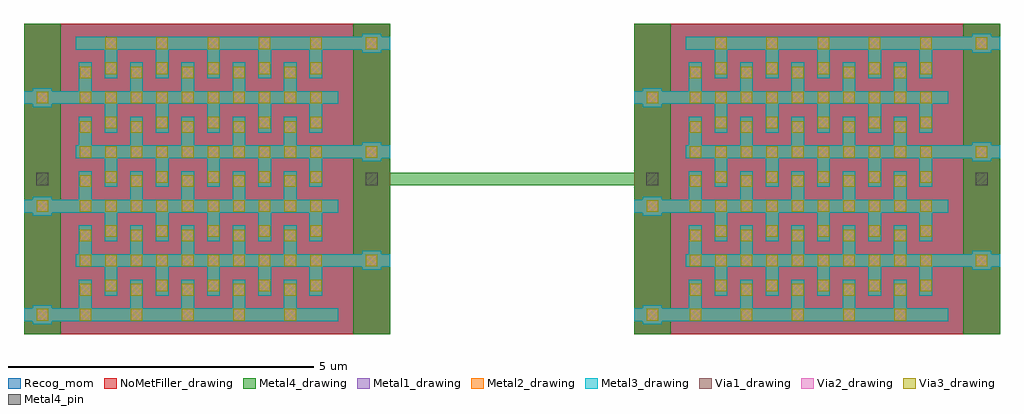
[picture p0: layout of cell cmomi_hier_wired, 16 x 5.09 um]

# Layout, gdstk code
import gdstk
lib = gdstk.Library(unit=1e-6, precision=1e-09)
def R(c, l, rs):  # rectangles x0, y0, x1, y1
    for r in rs: c.add(gdstk.rectangle(r[:2], r[2:], *l))
def A(c, l, x, y, w, h, nx, ny, dx, dy):  # array of equal rectangles
    R(c, l, [(x+i*dx, y+j*dy, x+i*dx+w, y+j*dy+h) for i in range(nx) for j in range(ny)])
Metal1_drawing = (8, 0)
Metal2_drawing = (10, 0)
Via1_drawing = (19, 0)
Via2_drawing = (29, 0)
Metal3_drawing = (30, 0)
Via3_drawing = (49, 0)
Metal4_drawing = (50, 0)
Metal4_pin = (50, 2)
Recog_mom = (99, 39)
NoMetFiller_drawing = (160, 0)

cmomi_unit = lib.new_cell('cmomi_unit')
A(cmomi_unit, Metal1_drawing, -2.855, -2.38, 0.31, 0.31, 1, 3, 0, 1.78)
A(cmomi_unit, Metal1_drawing, -3, -2.33, 5.15, 0.21, 1, 3, 0, 1.78)
A(cmomi_unit, Metal1_drawing, -2.1, -2.225, 0.21, 0.575, 5, 5, 0.84, 0.89)
A(cmomi_unit, Metal1_drawing, -1.68, -1.91, 0.21, 0.575, 5, 5, 0.84, 0.89)
A(cmomi_unit, Metal1_drawing, 2.545, -1.49, 0.31, 0.31, 1, 3, 0, 1.78)
A(cmomi_unit, Metal1_drawing, -2.15, -1.44, 5.15, 0.21, 1, 3, 0, 1.78)
A(cmomi_unit, Metal2_drawing, -2.855, -2.38, 0.31, 0.31, 1, 3, 0, 1.78)
A(cmomi_unit, Metal2_drawing, -3, -2.33, 5.15, 0.21, 1, 3, 0, 1.78)
A(cmomi_unit, Metal2_drawing, -2.1, -2.225, 0.21, 0.575, 5, 5, 0.84, 0.89)
A(cmomi_unit, Metal2_drawing, -1.68, -1.91, 0.21, 0.575, 5, 5, 0.84, 0.89)
A(cmomi_unit, Metal2_drawing, 2.545, -1.49, 0.31, 0.31, 1, 3, 0, 1.78)
A(cmomi_unit, Metal2_drawing, -2.15, -1.44, 5.15, 0.21, 1, 3, 0, 1.78)
A(cmomi_unit, Via1_drawing, -2.795, -2.32, 0.19, 0.19, 1, 3, 0, 1.78)
A(cmomi_unit, Via1_drawing, -2.09, -2.32, 0.19, 0.19, 5, 2, 0.84, 0.41)
A(cmomi_unit, Via1_drawing, -1.67, -1.84, 0.19, 0.19, 5, 5, 0.84, 0.89)
A(cmomi_unit, Via1_drawing, -2.09, -1.43, 0.19, 0.19, 10, 4, 0.42, 0.89)
A(cmomi_unit, Via1_drawing, 2.605, -1.43, 0.19, 0.19, 1, 3, 0, 1.78)
A(cmomi_unit, Via1_drawing, -2.09, -1.02, 0.19, 0.19, 5, 4, 0.84, 0.89)
A(cmomi_unit, Via1_drawing, -1.67, 2.13, 0.19, 0.19, 5, 1, 0.84, 0)
A(cmomi_unit, Via2_drawing, -2.795, -2.32, 0.19, 0.19, 1, 3, 0, 1.78)
A(cmomi_unit, Via2_drawing, -2.09, -2.32, 0.19, 0.19, 5, 2, 0.84, 0.41)
A(cmomi_unit, Via2_drawing, -1.67, -1.84, 0.19, 0.19, 5, 5, 0.84, 0.89)
A(cmomi_unit, Via2_drawing, -2.09, -1.43, 0.19, 0.19, 10, 4, 0.42, 0.89)
A(cmomi_unit, Via2_drawing, 2.605, -1.43, 0.19, 0.19, 1, 3, 0, 1.78)
A(cmomi_unit, Via2_drawing, -2.09, -1.02, 0.19, 0.19, 5, 4, 0.84, 0.89)
A(cmomi_unit, Via2_drawing, -1.67, 2.13, 0.19, 0.19, 5, 1, 0.84, 0)
A(cmomi_unit, Metal3_drawing, -2.855, -2.38, 0.31, 0.31, 1, 3, 0, 1.78)
A(cmomi_unit, Metal3_drawing, -3, -2.33, 5.15, 0.21, 1, 3, 0, 1.78)
A(cmomi_unit, Metal3_drawing, -2.1, -2.225, 0.21, 0.575, 5, 5, 0.84, 0.89)
A(cmomi_unit, Metal3_drawing, -1.68, -1.91, 0.21, 0.575, 5, 5, 0.84, 0.89)
A(cmomi_unit, Metal3_drawing, 2.545, -1.49, 0.31, 0.31, 1, 3, 0, 1.78)
A(cmomi_unit, Metal3_drawing, -2.15, -1.44, 5.15, 0.21, 1, 3, 0, 1.78)
A(cmomi_unit, Via3_drawing, -2.795, -2.32, 0.19, 0.19, 1, 3, 0, 1.78)
A(cmomi_unit, Via3_drawing, -2.09, -2.32, 0.19, 0.19, 5, 2, 0.84, 0.41)
A(cmomi_unit, Via3_drawing, -1.67, -1.84, 0.19, 0.19, 5, 5, 0.84, 0.89)
A(cmomi_unit, Via3_drawing, -2.09, -1.43, 0.19, 0.19, 10, 4, 0.42, 0.89)
A(cmomi_unit, Via3_drawing, 2.605, -1.43, 0.19, 0.19, 1, 3, 0, 1.78)
A(cmomi_unit, Via3_drawing, -2.09, -1.02, 0.19, 0.19, 5, 4, 0.84, 0.89)
A(cmomi_unit, Via3_drawing, -1.67, 2.13, 0.19, 0.19, 5, 1, 0.84, 0)
A(cmomi_unit, Metal4_drawing, -3, -2.33, 5.15, 0.21, 1, 3, 0, 1.78)
A(cmomi_unit, Metal4_drawing, -2.1, -2.225, 0.21, 0.575, 5, 5, 0.84, 0.89)
A(cmomi_unit, Metal4_drawing, -1.68, -1.91, 0.21, 0.575, 5, 5, 0.84, 0.89)
A(cmomi_unit, Metal4_drawing, -2.15, -1.44, 5.15, 0.21, 1, 3, 0, 1.78)
R(cmomi_unit, Metal4_drawing, [(-3,-2.545,-2.4,2.545), (2.4,-2.545,3,2.545)])
R(cmomi_unit, Metal4_pin, [(-2.8,-0.105,-2.6,0.105), (2.6,-0.105,2.8,0.105)])
R(cmomi_unit, Recog_mom, [(-3,-2.545,3,2.545)])
R(cmomi_unit, NoMetFiller_drawing, [(-3,-2.545,3,2.545)])
cmomi_unit.add(gdstk.Label('C=21.112fF', (0,0), layer=63, texttype=0))
cmomi_unit.add(gdstk.Label('cap_cmomi', (0,0), layer=63, texttype=0))
cmomi_unit.add(gdstk.Label('l=4.20 w=4.45u', (0,-0.5), layer=63, texttype=0))

cmomi_hier_wired = lib.new_cell('cmomi_hier_wired')
R(cmomi_hier_wired, Metal4_drawing, [(5.6,-0.105,10.4,0.105)])
cmomi_hier_wired.add(gdstk.Reference(cmomi_unit, (3,0)))
cmomi_hier_wired.add(gdstk.Reference(cmomi_unit, (13,0)))

lib.write_gds('cmomi_hier_wired.gds')
